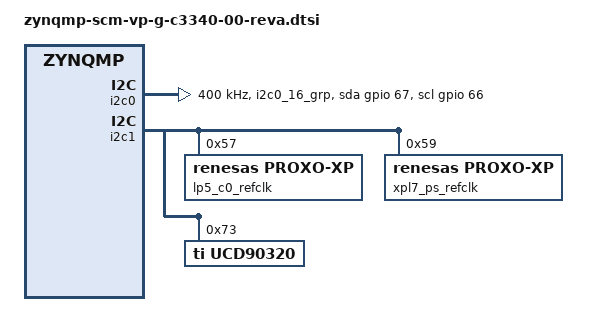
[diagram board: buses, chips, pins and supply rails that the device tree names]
// SPDX-License-Identifier: GPL-2.0
/*
 * dts file for Xilinx ZynqMP VP-G-C3340-00
 *
 * Copyright (C) 2026, Advanced Micro Devices, Inc.
 *
 * Michal Simek <michal.simek@amd.com>
 */

#include "include/dt-bindings/gpio/gpio.h"
#include "include/dt-bindings/pinctrl/pinctrl-zynqmp.h"

&{/} {
	compatible = "xlnx,zynqmp-scm-vp-g-c3340-revA",
		     "xlnx,zynqmp-scm-vp-g-c3340", "xlnx,zynqmp";
	model = "ZynqMP SCM VP-G-C3340-00 revA";

	sys_clk_0 {
		compatible = "xlnx,fclk";
		clocks = <&lp5_c0_refclk>;
	};

	sys_clk_1 {
		compatible = "xlnx,fclk";
		clocks = <&xpl7_ps_refclk>;
	};
};

&pinctrl0 {
	pinctrl_i2c0_default: i2c0-default {
		conf {
			groups = "i2c0_16_grp";
			bias-pull-up;
			slew-rate = <SLEW_RATE_SLOW>;
			power-source = <IO_STANDARD_LVCMOS18>;
		};

		mux {
			groups = "i2c0_16_grp";
			function = "i2c0";
		};
	};

	pinctrl_i2c0_gpio: i2c0-gpio-grp {
		conf {
			groups = "gpio0_66_grp", "gpio0_67_grp";
			slew-rate = <SLEW_RATE_SLOW>;
			power-source = <IO_STANDARD_LVCMOS18>;
		};

		mux {
			groups = "gpio0_66_grp", "gpio0_67_grp";
			function = "gpio0";
		};
	};
};

&i2c0 { /* MIO 66/67 */
	#address-cells = <1>;
	#size-cells = <0>;
	clock-frequency = <400000>;
	pinctrl-names = "default", "gpio";
	pinctrl-0 = <&pinctrl_i2c0_default>;
	pinctrl-1 = <&pinctrl_i2c0_gpio>;
	scl-gpios = <&gpio 66 (GPIO_ACTIVE_HIGH | GPIO_OPEN_DRAIN)>;
	sda-gpios = <&gpio 67 (GPIO_ACTIVE_HIGH | GPIO_OPEN_DRAIN)>;

	/*
	 * No need to describe them because all of them are driven from user space
	 * SCM_I2C (J161 enable bus)
	 * Bus via LTC4316 u86 ina226_pmbus_scl_trnsl
	 * ina226 0x59 u31 shunt-resistor = <1000>; R381, 0.92V
	 * ina226 0x5B u35 shunt-resistor = <1000>; R421, 0.92V
	 * ina226 0x5C u37 shunt-resistor = <2000>; R441, 1.00V
	 * ina226 0x46 u39 shunt-resistor = <2000>; R461, 1.20V
	 * ina226 0x5D u41 shunt-resistor = <2000>; R481, 1.10V
	 * ina226 0x43 u45 shunt-resistor = <1000>; R521, 0.8V
	 * ina226 0x4D u51 shunt-resistor = <1000>; R584, 0.92V
	 *
	 * Bus via I2C_PMC - enabling via J163 ina226_pmbus_scl
	 * ina226 0x4a u12 shunt-resistor = <2000>; R198, 1.8V
	 * ina226 0x4b u14 shunt-resistor = <2000>; R218, 1.8V
	 * ina226 0x42 u16 shunt-resistor = <2000>; R238, 1.8V
	 * ina226 0x40 u18 shunt-resistor = <2000>; R258, 0.8V
	 * ina226 0x4c u20 shunt-resistor = <20000>; R278, 1.5V
	 * ina226 0x44 u23 shunt-resistor = <2000>; R301, 1.8V
	 * ina226 0x47 u25 shunt-resistor = <2000>; R321, 0.8V
	 * ina226 0x45 u27 shunt-resistor = <2000>; R341, 0.8V
	 * ina226 0x41 u29 shunt-resistor = <2000>; R361, 0.8V
	 * ina226 0x5a u33 shunt-resistor = <20000>; R401, 1.5V
	 * ina226 0x49 u43 shunt-resistor = <2000>; R501, 1.5V
	 * ina226 0x48 u47 shunt-resistor = <2000>; R543, 0.8V
	 * ina226 0x4e u49 shunt-resistor = <20000>; R563, 0.8V
	 * ina226 0x4f u53 shunt-resistor = <20000>; R603, 1.5V
	 *
	 * Bus via I2C_PMC - enabling via J164 ext_pmbus_scl
	 * tps546b24a 0x1a u13
	 * tps546b24a 0x1b u15
	 * tps546b24a 0x1c u17
	 * tps546b24a 0x23 u19
	 * tps546b24a 0x16 u21
	 * tps546b24a 0x2a u24
	 * tps546b24a 0x20 u26
	 * tps546b24a 0x1e u28
	 * tps546b24a 0x1d u30
	 * tps546b24a 0x1f u34
	 * tps546b24a 0x15 u48
	 * tps546b24a 0x2c u54
	 * tps53681rsbt 0x60 u55
	 *
	 * Bus via I2C_PMC - enabling via J165 pmbus_scl
	 * tps546b24a 0x2b u32
	 * tps546b24a 0x11 u36
	 * tps546b24a 0x13 u38
	 * tps546b24a 0x25 u40
	 * tps546b24a 0x12 u42
	 * tps546b24a 0x29 u44
	 * tps546b24a 0x22 u46
	 * tps546b24a 0x19 u50
	 * tps546b24a 0x21 u52
	 * tps546b24a 0x14 u62
	 * tps546b24a 0x27 u65
	 * tps546b24a 0x26 u66
	 * tps546b24a 0x2d u67
	 */
};

&i2c1 { /* scm_eeprom_i2c */
	#address-cells = <1>;
	#size-cells = <0>;

	/* via j167 u95 i2c_main_scl */

	/* j170/u99 - OE i2c_main_1_scl - 320MHz */
	lp5_c0_refclk: clock-controller@57 { /* u101 */
		compatible = "renesas,proxo-xp";
		reg = <0x57>;
		#clock-cells = <0>;
		clock-output-names = "lp5_c0_refclk";
	};

	/* j171/u100 - OE i2c_main_2_scl - 33.3333MHz */
	xpl7_ps_refclk: clock-controller@59 { /* u108 */
		compatible = "renesas,proxo-xp";
		reg = <0x59>;
		#clock-cells = <0>;
		clock-output-names = "xpl7_ps_refclk";
	};

	/* m24c128 u96 0x54 board eeprom in SCM */

	/* j169 - OE ucd_pmbus_scl */
	ucd90320: power-sequencer@73 { /* u3 */
		compatible = "ti,ucd90320";
		reg = <0x73>;
	};
};
